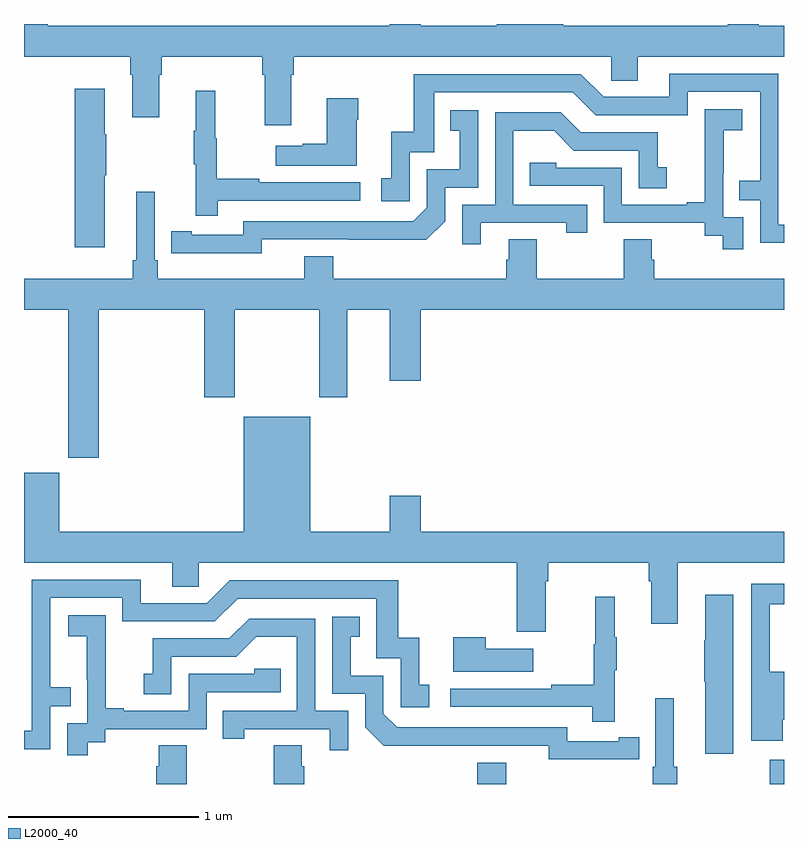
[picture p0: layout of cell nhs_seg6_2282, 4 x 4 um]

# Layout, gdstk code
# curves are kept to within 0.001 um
import gdstk
lib = gdstk.Library(unit=1e-6, precision=1e-09)
def R(c, l, rs):  # rectangles x0, y0, x1, y1
    for r in rs: c.add(gdstk.rectangle(r[:2], r[2:], *l))
def P(c, l, *ps):  # polygons
    for p in ps: c.add(gdstk.Polygon(p, *l))
L2000_40 = (2000, 40)

nhs_seg6_2282 = lib.new_cell('nhs_seg6_2282')
R(nhs_seg6_2282, L2000_40, [(249.386,951.5,249.538,951.613), (250.925,951.5,251,951.628)])
P(nhs_seg6_2282, L2000_40, [(248.407,955.232),(248.42,955.232),(248.42,955.328),(250.092,955.328),(250.092,955.201),(250.231,955.201),(250.231,955.328),(251,955.328),(251,955.492),(250.868,955.492),(250.868,955.5),(250.703,955.5),(250.703,955.492),(249.838,955.492),(249.838,955.5),(249.488,955.5),(249.488,955.492),(249.088,955.492),(249.088,955.5),(248.924,955.5),(248.924,955.492),(247.124,955.492),(247.124,955.5),(247,955.5),(247,955.328),(247.559,955.328),(247.559,955.232),(247.571,955.232),(247.571,955.008),(247.711,955.008),(247.711,955.232),(247.724,955.232),(247.724,955.328),(248.255,955.328),(248.255,955.232),(248.267,955.232),(248.267,954.966),(248.407,954.966)],
  [(251,954.444),(250.971,954.444),(250.971,955.239),(250.397,955.239),(250.397,955.116),(250.05,955.116),(249.93,955.236),(249.051,955.236),(249.051,954.934),(248.933,954.934),(248.933,954.687),(248.88,954.687),(248.88,954.567),(249.03,954.567),(249.03,954.825),(249.159,954.825),(249.159,955.14),(249.888,955.14),(250.008,955.02),(250.494,955.02),(250.494,955.143),(250.875,955.143),(250.875,954.674),(250.765,954.674),(250.765,954.573),(250.875,954.573),(250.875,954.348),(251,954.348)],
  [(247.426,954.703),(247.434,954.703),(247.434,954.92),(247.426,954.92),(247.426,955.159),(247.268,955.159),(247.268,954.324),(247.426,954.324)],
  [(248.021,954.57),(248.77,954.57),(248.77,954.666),(248.237,954.666),(248.237,954.686),(248.014,954.686),(248.014,954.9),(248.006,954.9),(248.006,955.15),(247.904,955.15),(247.904,954.937),(247.893,954.937),(247.893,954.763),(247.904,954.763),(247.904,954.492),(248.021,954.492)],
  [(248.752,954.995),(248.76,954.995),(248.76,955.108),(248.594,955.108),(248.594,954.869),(248.468,954.869),(248.468,954.859),(248.325,954.859),(248.325,954.755),(248.752,954.755)],
  [(250.785,954.483),(250.68,954.483),(250.68,954.713),(250.682,954.713),(250.682,954.941),(250.78,954.941),(250.78,955.051),(250.582,955.051),(250.582,954.845),(250.583,954.845),(250.583,954.562),(250.487,954.562),(250.487,954.549),(250.146,954.549),(250.146,954.744),(249.801,954.744),(249.801,954.771),(249.661,954.771),(249.661,954.648),(250.05,954.648),(250.05,954.453),(250.584,954.453),(250.584,954.385),(250.677,954.385),(250.677,954.315),(250.785,954.315)],
  [(248.25,954.366),(249.118,954.365),(249.216,954.462),(249.216,954.639),(249.39,954.639),(249.39,955.045),(249.244,955.045),(249.244,954.939),(249.293,954.939),(249.293,954.735),(249.12,954.735),(249.12,954.534),(249.048,954.462),(248.154,954.462),(248.154,954.39),(247.882,954.39),(247.882,954.41),(247.774,954.41),(247.774,954.294),(248.25,954.293)],
  [(249.403,954.453),(249.854,954.453),(249.854,954.402),(249.965,954.402),(249.965,954.549),(249.576,954.549),(249.576,954.938),(249.79,954.938),(249.894,954.834),(250.236,954.834),(250.236,954.636),(250.384,954.636),(250.384,954.745),(250.335,954.745),(250.335,954.93),(249.931,954.93),(249.826,955.035),(249.48,955.035),(249.48,954.549),(249.306,954.549),(249.306,954.342),(249.403,954.342)],
  [(247.394,953.996),(247.949,953.996),(247.949,953.535),(248.109,953.535),(248.109,953.996),(248.554,953.996),(248.554,953.535),(248.701,953.535),(248.701,953.996),(248.924,953.996),(248.924,953.622),(249.088,953.622),(249.088,953.996),(251,953.996),(251,954.16),(250.316,954.16),(250.316,954.258),(250.303,954.258),(250.303,954.368),(250.156,954.368),(250.156,954.16),(249.699,954.16),(249.699,954.368),(249.551,954.368),(249.551,954.258),(249.539,954.258),(249.539,954.16),(248.627,954.16),(248.627,954.277),(248.474,954.277),(248.474,954.16),(247.703,954.16),(247.703,954.256),(247.689,954.256),(247.689,954.616),(247.592,954.616),(247.592,954.256),(247.573,954.256),(247.573,954.16),(247,954.16),(247,953.996),(247.234,953.996),(247.234,953.217),(247.394,953.217)],
  [(249.745,952.568),(249.758,952.568),(249.758,952.664),(250.289,952.664),(250.289,952.568),(250.301,952.568),(250.301,952.344),(250.441,952.344),(250.441,952.664),(251,952.664),(251,952.828),(249.088,952.828),(249.088,953.017),(248.924,953.017),(248.924,952.828),(248.506,952.828),(248.506,953.434),(248.156,953.434),(248.156,952.828),(247.186,952.828),(247.186,953.137),(247,953.137),(247,952.664),(247.781,952.664),(247.781,952.537),(247.92,952.537),(247.92,952.664),(249.593,952.664),(249.593,952.302),(249.745,952.302)],
  [(247.137,951.909),(247.247,951.909),(247.247,952.01),(247.137,952.01),(247.137,952.479),(247.518,952.479),(247.518,952.356),(248.004,952.356),(248.124,952.476),(248.853,952.476),(248.853,952.161),(248.982,952.161),(248.982,951.903),(249.133,951.903),(249.133,952.023),(249.08,952.023),(249.08,952.27),(248.969,952.27),(248.969,952.572),(248.082,952.572),(247.962,952.452),(247.615,952.452),(247.615,952.575),(247.041,952.575),(247.041,951.78),(247,951.78),(247,951.684),(247.137,951.684)],
  [(250.993,951.837),(251,951.837),(251,952.09),(250.925,952.09),(250.925,952.446),(251,952.446),(251,952.554),(250.827,952.554),(250.827,951.728),(250.993,951.728)],
  [(250.732,952.495),(250.586,952.495),(250.586,952.256),(250.579,952.256),(250.579,952.039),(250.586,952.039),(250.586,951.66),(250.732,951.66)],
  [(250.109,952.099),(250.12,952.099),(250.12,952.273),(250.109,952.273),(250.109,952.486),(250.006,952.486),(250.006,952.236),(249.999,952.236),(249.999,952.022),(249.775,952.022),(249.775,952.002),(249.243,952.002),(249.243,951.906),(249.991,951.906),(249.991,951.828),(250.109,951.828)],
  [(247.336,951.721),(247.428,951.721),(247.428,951.789),(247.962,951.789),(247.962,951.984),(248.351,951.984),(248.351,952.107),(248.211,952.107),(248.211,952.08),(247.866,952.08),(247.866,951.885),(247.525,951.885),(247.525,951.898),(247.43,951.898),(247.43,952.181),(247.431,952.181),(247.431,952.387),(247.233,952.387),(247.233,952.277),(247.331,952.277),(247.331,952.049),(247.332,952.049),(247.332,951.819),(247.227,951.819),(247.227,951.651),(247.336,951.651)],
  [(250.13,951.63),(250.238,951.63),(250.238,951.746),(250.13,951.746),(250.13,951.726),(249.858,951.726),(249.858,951.798),(248.964,951.798),(248.892,951.87),(248.892,952.071),(248.719,952.071),(248.719,952.275),(248.768,952.275),(248.768,952.381),(248.622,952.381),(248.622,951.975),(248.796,951.975),(248.796,951.798),(248.894,951.701),(249.762,951.702),(249.762,951.629)],
  [(248.706,951.885),(248.532,951.885),(248.532,952.371),(248.186,952.371),(248.081,952.266),(247.678,952.266),(247.678,952.081),(247.629,952.081),(247.629,951.972),(247.776,951.972),(247.776,952.17),(248.118,952.17),(248.222,952.274),(248.436,952.274),(248.436,951.885),(248.047,951.885),(248.047,951.738),(248.158,951.738),(248.158,951.789),(248.609,951.789),(248.609,951.678),(248.706,951.678)],
  [(249.679,952.213),(249.431,952.213),(249.431,952.273),(249.26,952.273),(249.26,952.091),(249.679,952.091)],
  [(250.439,951.592),(250.42,951.592),(250.42,951.952),(250.323,951.952),(250.323,951.592),(250.31,951.592),(250.31,951.5),(250.439,951.5)],
  [(248.474,951.594),(248.461,951.594),(248.461,951.704),(248.314,951.704),(248.314,951.5),(248.474,951.5)],
  [(247.857,951.704),(247.709,951.704),(247.709,951.594),(247.697,951.594),(247.697,951.5),(247.857,951.5)])

lib.write_gds('nhs_seg6_2282.gds')
